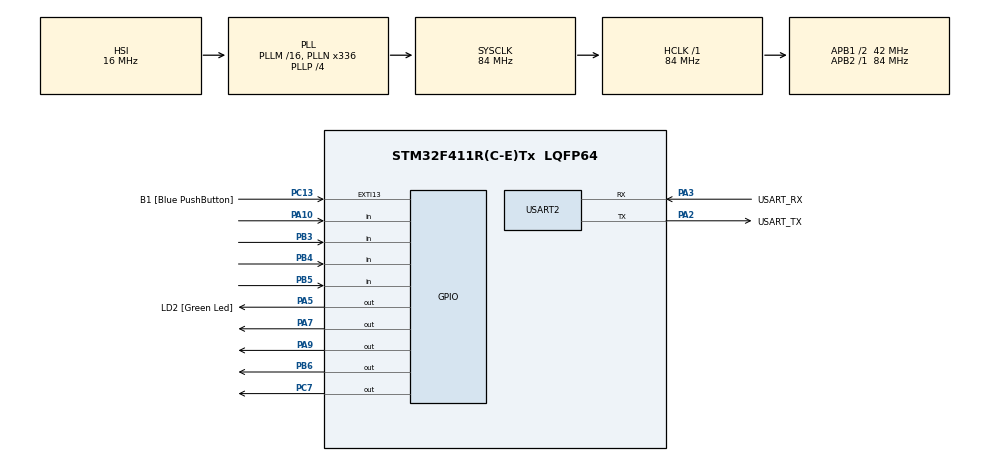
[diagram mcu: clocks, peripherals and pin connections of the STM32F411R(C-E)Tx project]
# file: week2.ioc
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Mcu.Family=STM32F4
Mcu.Name=STM32F411R(C-E)Tx
Mcu.Package=LQFP64
NVIC.PriorityGroup=NVIC_PRIORITYGROUP_0
PA10.GPIO_PuPd=GPIO_PULLUP
PA10.Signal=GPIO_Input
PA13.GPIO_Label=TMS
PA13.Mode=Serial_Wire
PA13.Signal=SYS_JTMS-SWDIO
PA14.GPIO_Label=TCK
PA14.Mode=Serial_Wire
PA14.Signal=SYS_JTCK-SWCLK
PA2.GPIO_Label=USART_TX
PA2.Mode=Asynchronous
PA2.Signal=USART2_TX
PA3.GPIO_Label=USART_RX
PA3.Mode=Asynchronous
PA3.Signal=USART2_RX
PA5.GPIO_Label=LD2 [Green Led]
PA5.Signal=GPIO_Output
PA7.GPIO_ModeDefaultOutputPP=GPIO_MODE_OUTPUT_OD
PA7.PinState=GPIO_PIN_SET
PA7.Signal=GPIO_Output
PA9.GPIO_ModeDefaultOutputPP=GPIO_MODE_OUTPUT_OD
PA9.PinState=GPIO_PIN_SET
PA9.Signal=GPIO_Output
PB3.GPIO_PuPd=GPIO_PULLUP
PB3.Signal=GPIO_Input
PB4.GPIO_PuPd=GPIO_PULLUP
PB4.Signal=GPIO_Input
PB5.GPIO_PuPd=GPIO_PULLUP
PB5.Signal=GPIO_Input
PB6.GPIO_ModeDefaultOutputPP=GPIO_MODE_OUTPUT_OD
PB6.PinState=GPIO_PIN_SET
PB6.Signal=GPIO_Output
PC13-ANTI_TAMP.GPIO_Label=B1 [Blue PushButton]
PC13-ANTI_TAMP.GPIO_ModeDefaultEXTI=GPIO_MODE_IT_FALLING
PC13-ANTI_TAMP.Signal=GPXTI13
PC14-OSC32_IN.Mode=LSE-External-Oscillator
PC14-OSC32_IN.Signal=RCC_OSC32_IN
PC15-OSC32_OUT.Mode=LSE-External-Oscillator
PC15-OSC32_OUT.Signal=RCC_OSC32_OUT
PC7.GPIO_ModeDefaultOutputPP=GPIO_MODE_OUTPUT_OD
PC7.PinState=GPIO_PIN_SET
PC7.Signal=GPIO_Output
PH0\ -\ OSC_IN.Mode=HSE-External-Clock-Source
PH0\ -\ OSC_IN.Signal=RCC_OSC_IN
PH1\ -\ OSC_OUT.Mode=HSE-External-Clock-Source
PH1\ -\ OSC_OUT.Signal=RCC_OSC_OUT
ProjectManager.HeapSize=0x200
ProjectManager.StackSize=0x400
ProjectManager.TargetToolchain=STM32CubeIDE
RCC.48MHZClocksFreq_Value=84000000
RCC.AHBFreq_Value=84000000
RCC.APB1CLKDivider=RCC_HCLK_DIV2
RCC.APB1Freq_Value=42000000
RCC.APB1TimFreq_Value=84000000
RCC.APB2Freq_Value=84000000
RCC.APB2TimFreq_Value=84000000
RCC.CortexFreq_Value=84000000
RCC.FLatency-AdvancedSettings=FLASH_LATENCY_2
RCC.HCLKFreq_Value=84000000
RCC.HSE_VALUE=8000000
RCC.HSI_VALUE=16000000
RCC.PLLN=336
RCC.PLLP=RCC_PLLP_DIV4
RCC.SYSCLKFreq_VALUE=84000000
RCC.SYSCLKSource=RCC_SYSCLKSOURCE_PLLCLK
RCC.VCOOutputFreq_Value=336000000
USART2.VirtualMode=VM_ASYNC
board=NUCLEO-F411RE

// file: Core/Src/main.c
/* USER CODE BEGIN Header */
/**
 ******************************************************************************
 * @file           : main.c
 * @brief          : Main program body
 ******************************************************************************
 * @attention
 *
 * <h2><center>&copy; Copyright (c) 2021 STMicroelectronics.
 * All rights reserved.</center></h2>
 *
 * This software component is licensed by ST under BSD 3-Clause license,
 * the "License"; You may not use this file except in compliance with the
 * License. You may obtain a copy of the License at:
 *                        opensource.org/licenses/BSD-3-Clause
 *
 ******************************************************************************
 */
/* USER CODE END Header */
#include "main.h"

UART_HandleTypeDef huart2;

/* USER CODE BEGIN PV */
//save status of Button Matrix
uint16_t ButtonMatrixState = 0;
int State = 0;
//Button TimeStamp
uint32_t ButtonMatrixTimestamp = 0;
/* USER CODE END PV */

void SystemClock_Config(void);
static void MX_GPIO_Init(void);
static void MX_USART2_UART_Init(void);
/* USER CODE BEGIN PFP */
//scan and update data of Button Matrix
void ButtonMatrixUpdate();
/* USER CODE END PFP */

int main(void)
{

	/* MCU Configuration--------------------------------------------------------*/

	/* Reset of all peripherals, Initializes the Flash interface and the Systick. */
	HAL_Init();

	/* Configure the system clock */
	SystemClock_Config();

	/* Initialize all configured peripherals */
	MX_GPIO_Init();
	MX_USART2_UART_Init();

	/* Infinite loop */
	while (1)
	{

		/* USER CODE BEGIN 3 */
		ButtonMatrixUpdate();
	}
	/* USER CODE END 3 */
}

void SystemClock_Config(void)
{
	RCC_OscInitTypeDef RCC_OscInitStruct =
	{ 0 };
	RCC_ClkInitTypeDef RCC_ClkInitStruct =
	{ 0 };

	/** Configure the main internal regulator output voltage
	 */
	__HAL_RCC_PWR_CLK_ENABLE();
	__HAL_PWR_VOLTAGESCALING_CONFIG(PWR_REGULATOR_VOLTAGE_SCALE1);
	/** Initializes the RCC Oscillators according to the specified parameters
	 * in the RCC_OscInitTypeDef structure.
	 */
	RCC_OscInitStruct.OscillatorType = RCC_OSCILLATORTYPE_HSI;
	RCC_OscInitStruct.HSIState = RCC_HSI_ON;
	RCC_OscInitStruct.HSICalibrationValue = RCC_HSICALIBRATION_DEFAULT;
	RCC_OscInitStruct.PLL.PLLState = RCC_PLL_ON;
	RCC_OscInitStruct.PLL.PLLSource = RCC_PLLSOURCE_HSI;
	RCC_OscInitStruct.PLL.PLLM = 16;
	RCC_OscInitStruct.PLL.PLLN = 336;
	RCC_OscInitStruct.PLL.PLLP = RCC_PLLP_DIV4;
	RCC_OscInitStruct.PLL.PLLQ = 4;
	if (HAL_RCC_OscConfig(&RCC_OscInitStruct) != HAL_OK)
	{
		Error_Handler();
	}
	/** Initializes the CPU, AHB and APB buses clocks
	 */
	RCC_ClkInitStruct.ClockType = RCC_CLOCKTYPE_HCLK | RCC_CLOCKTYPE_SYSCLK
			| RCC_CLOCKTYPE_PCLK1 | RCC_CLOCKTYPE_PCLK2;
	RCC_ClkInitStruct.SYSCLKSource = RCC_SYSCLKSOURCE_PLLCLK;
	RCC_ClkInitStruct.AHBCLKDivider = RCC_SYSCLK_DIV1;
	RCC_ClkInitStruct.APB1CLKDivider = RCC_HCLK_DIV2;
	RCC_ClkInitStruct.APB2CLKDivider = RCC_HCLK_DIV1;

	if (HAL_RCC_ClockConfig(&RCC_ClkInitStruct, FLASH_LATENCY_2) != HAL_OK)
	{
		Error_Handler();
	}
}

static void MX_USART2_UART_Init(void)
{

	huart2.Instance = USART2;
	huart2.Init.BaudRate = 115200;
	huart2.Init.WordLength = UART_WORDLENGTH_8B;
	huart2.Init.StopBits = UART_STOPBITS_1;
	huart2.Init.Parity = UART_PARITY_NONE;
	huart2.Init.Mode = UART_MODE_TX_RX;
	huart2.Init.HwFlowCtl = UART_HWCONTROL_NONE;
	huart2.Init.OverSampling = UART_OVERSAMPLING_16;
	if (HAL_UART_Init(&huart2) != HAL_OK)
	{
		Error_Handler();
	}

}

static void MX_GPIO_Init(void)
{
	GPIO_InitTypeDef GPIO_InitStruct =
	{ 0 };

	/* GPIO Ports Clock Enable */
	__HAL_RCC_GPIOC_CLK_ENABLE();
	__HAL_RCC_GPIOH_CLK_ENABLE();
	__HAL_RCC_GPIOA_CLK_ENABLE();
	__HAL_RCC_GPIOB_CLK_ENABLE();

	/*Configure GPIO pin Output Level */
	HAL_GPIO_WritePin(LD2_GPIO_Port, LD2_Pin, GPIO_PIN_RESET);

	/*Configure GPIO pin Output Level */
	HAL_GPIO_WritePin(GPIOA, GPIO_PIN_7 | GPIO_PIN_9, GPIO_PIN_SET);

	/*Configure GPIO pin Output Level */
	HAL_GPIO_WritePin(GPIOC, GPIO_PIN_7, GPIO_PIN_SET);

	/*Configure GPIO pin Output Level */
	HAL_GPIO_WritePin(GPIOB, GPIO_PIN_6, GPIO_PIN_SET);

	/*Configure GPIO pin : B1_Pin */
	GPIO_InitStruct.Pin = B1_Pin;
	GPIO_InitStruct.Mode = GPIO_MODE_IT_FALLING;
	GPIO_InitStruct.Pull = GPIO_NOPULL;
	HAL_GPIO_Init(B1_GPIO_Port, &GPIO_InitStruct);

	/*Configure GPIO pin : LD2_Pin */
	GPIO_InitStruct.Pin = LD2_Pin;
	GPIO_InitStruct.Mode = GPIO_MODE_OUTPUT_PP;
	GPIO_InitStruct.Pull = GPIO_NOPULL;
	GPIO_InitStruct.Speed = GPIO_SPEED_FREQ_LOW;
	HAL_GPIO_Init(LD2_GPIO_Port, &GPIO_InitStruct);

	/*Configure GPIO pins : PA7 PA9 */
	GPIO_InitStruct.Pin = GPIO_PIN_7 | GPIO_PIN_9;
	GPIO_InitStruct.Mode = GPIO_MODE_OUTPUT_OD;
	GPIO_InitStruct.Pull = GPIO_NOPULL;
	GPIO_InitStruct.Speed = GPIO_SPEED_FREQ_LOW;
	HAL_GPIO_Init(GPIOA, &GPIO_InitStruct);

	/*Configure GPIO pin : PC7 */
	GPIO_InitStruct.Pin = GPIO_PIN_7;
	GPIO_InitStruct.Mode = GPIO_MODE_OUTPUT_OD;
	GPIO_InitStruct.Pull = GPIO_NOPULL;
	GPIO_InitStruct.Speed = GPIO_SPEED_FREQ_LOW;
	HAL_GPIO_Init(GPIOC, &GPIO_InitStruct);

	/*Configure GPIO pin : PA10 */
	GPIO_InitStruct.Pin = GPIO_PIN_10;
	GPIO_InitStruct.Mode = GPIO_MODE_INPUT;
	GPIO_InitStruct.Pull = GPIO_PULLUP;
	HAL_GPIO_Init(GPIOA, &GPIO_InitStruct);

	/*Configure GPIO pins : PB3 PB4 PB5 */
	GPIO_InitStruct.Pin = GPIO_PIN_3 | GPIO_PIN_4 | GPIO_PIN_5;
	GPIO_InitStruct.Mode = GPIO_MODE_INPUT;
	GPIO_InitStruct.Pull = GPIO_PULLUP;
	HAL_GPIO_Init(GPIOB, &GPIO_InitStruct);

	/*Configure GPIO pin : PB6 */
	GPIO_InitStruct.Pin = GPIO_PIN_6;
	GPIO_InitStruct.Mode = GPIO_MODE_OUTPUT_OD;
	GPIO_InitStruct.Pull = GPIO_NOPULL;
	GPIO_InitStruct.Speed = GPIO_SPEED_FREQ_LOW;
	HAL_GPIO_Init(GPIOB, &GPIO_InitStruct);

}

/* USER CODE BEGIN 4 */
//port/pin array , 0-3 input , 4-7 output
GPIO_TypeDef *ButtonMatrixPort[8] =
{ GPIOA, GPIOB, GPIOB, GPIOB, GPIOA, GPIOC, GPIOB, GPIOA };

uint16_t ButtonMatrixPin[8] =
{ GPIO_PIN_10, GPIO_PIN_3, GPIO_PIN_5, GPIO_PIN_4, GPIO_PIN_9, GPIO_PIN_7,
GPIO_PIN_6, GPIO_PIN_7 };

uint8_t ButtonMatrixRow = 0;  //What  R Now
void ButtonMatrixUpdate()
{
	if (HAL_GetTick() - ButtonMatrixTimestamp >= 100)
	{
		ButtonMatrixTimestamp = HAL_GetTick();
		int i;
		for (i = 0; i < 4; i += 1)
		{ //0-3
			GPIO_PinState PinState = HAL_GPIO_ReadPin(ButtonMatrixPort[i],
					ButtonMatrixPin[i]);
			if (PinState == GPIO_PIN_RESET) // Button Press
			{
				ButtonMatrixState |= (uint16_t) 1 << (i + ButtonMatrixRow * 4);
								if(State == 0)
								{
									if(ButtonMatrixState == 0b1000000) //6
									{
										State = 1;

									}
									else if(ButtonMatrixState == 0b1000)
									{
										State=0;
										HAL_GPIO_WritePin(GPIOA, GPIO_PIN_5, GPIO_PIN_RESET);
									}
									else
									{
										State = 0;
									}
									break;
								}
								if(State==1)
								{
									if(ButtonMatrixState == 0b1000000000) //2
									{
										State = 2;
									}
									else if(ButtonMatrixState == 0b1000)
									{
										State=0;
										HAL_GPIO_WritePin(GPIOA, GPIO_PIN_5, GPIO_PIN_RESET);
									}
									else
									{
										State = 0;
									}
									break;
								}
								if(State == 2)
								{
									if(ButtonMatrixState == 0b10000000000) //3
									{
										State = 3;
									}
									else if(ButtonMatrixState == 0b1000)
									{
										State=0;
										HAL_GPIO_WritePin(GPIOA, GPIO_PIN_5, GPIO_PIN_RESET);
									}
									else
									{
										State = 0;
									}
									break;
								}
								if(State == 3)
								{
									if(ButtonMatrixState == 0b10000) //4
									{
										State = 4;
									}
									else if(ButtonMatrixState == 0b1000)
									{
										State=0;
										HAL_GPIO_WritePin(GPIOA, GPIO_PIN_5, GPIO_PIN_RESET);
									}
									else
									{
										State = 0;
									}
									break;
								}
								if(State == 4)
								{
									if(ButtonMatrixState == 0b1000000000000) //0
									{
										State = 5;
									}
									else if(ButtonMatrixState == 0b1000)
									{
										State=0;
										HAL_GPIO_WritePin(GPIOA, GPIO_PIN_5, GPIO_PIN_RESET);
									}
									else
									{
										State = 0;
									}
									break;
								}
								if(State==5)
								{
									if(ButtonMatrixState == 0b100000) //5
									{
										State = 6;
									}
									else if(ButtonMatrixState == 0b1000)
									{
										State=0;
										HAL_GPIO_WritePin(GPIOA, GPIO_PIN_5, GPIO_PIN_RESET);
									}
									else
									{
										State = 0;
									}
									break;
								}
								if(State == 6)
								{
									if(ButtonMatrixState == 0b1000000000000) //0
									{
										State = 7;
									}
									else if(ButtonMatrixState == 0b1000)
									{
										State=0;
										HAL_GPIO_WritePin(GPIOA, GPIO_PIN_5, GPIO_PIN_RESET);
									}
									else
									{
										State = 0;
									}
									break;
								}
								if(State == 7)
								{
									if(ButtonMatrixState == 0b1000000000000) //0
									{
										State = 8;
									}
									else if(ButtonMatrixState == 0b1000)
									{
										State=0;
										HAL_GPIO_WritePin(GPIOA, GPIO_PIN_5, GPIO_PIN_RESET);
									}
									else
									{
										State = 0;
									}
									break;
								}
								if(State == 8)
								{
									if(ButtonMatrixState == 0b1000000000000) //0
									{
										State = 9;
									}
									else if(ButtonMatrixState == 0b1000)
									{
										State=0;
										HAL_GPIO_WritePin(GPIOA, GPIO_PIN_5, GPIO_PIN_RESET);
									}
									else
									{
										State = 0;
									}
									break;
								}
								if(State == 9)
								{
									if(ButtonMatrixState == 0b1000000) //6
									{
										State = 10;
									}
									else if(ButtonMatrixState == 0b1000)
									{
										State=0;
										HAL_GPIO_WritePin(GPIOA, GPIO_PIN_5, GPIO_PIN_RESET);
									}
									else
									{
										State = 0;
									}
									break;
								}
								if(State == 10)
								{
									if(ButtonMatrixState == 0b1) //7
									{
										State = 11;
									}
									else if(ButtonMatrixState == 0b1000)
									{
										State=0;
										HAL_GPIO_WritePin(GPIOA, GPIO_PIN_5, GPIO_PIN_RESET);
									}
									else
									{
										State = 0;
									}
									break;
								}
								if(State == 11)
								{
									if(ButtonMatrixState == 0b1000000000000000) //ok
									{
										HAL_GPIO_WritePin(GPIOA, GPIO_PIN_5, GPIO_PIN_SET);
									}
									else if(ButtonMatrixState == 0b1000)
									{
										State=0;
										HAL_GPIO_WritePin(GPIOA, GPIO_PIN_5, GPIO_PIN_RESET);
									}
									else
									{
										State = 0;
									}
									break;
								}
			}
			else
			{
				ButtonMatrixState &= ~((uint16_t) 1 << (i + ButtonMatrixRow * 4));
			}
		}
		uint8_t NowOutputPin = ButtonMatrixRow + 4;
		//SET Rn
		HAL_GPIO_WritePin(ButtonMatrixPort[NowOutputPin],
				ButtonMatrixPin[NowOutputPin], GPIO_PIN_SET);
		// update New R
		ButtonMatrixRow = (ButtonMatrixRow + 1) % 4;

		uint8_t NextOutputPin = ButtonMatrixRow + 4;
		//Reset Rn+1
		HAL_GPIO_WritePin(ButtonMatrixPort[NextOutputPin],
				ButtonMatrixPin[NextOutputPin], GPIO_PIN_RESET);

	}
}
/* USER CODE END 4 */

void Error_Handler(void)
{
	__disable_irq();
	while (1)
	{
	}
}

/************************ (C) COPYRIGHT STMicroelectronics *****END OF FILE****/
